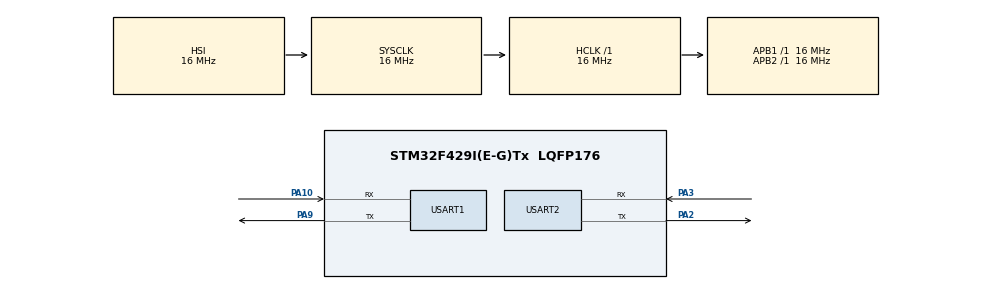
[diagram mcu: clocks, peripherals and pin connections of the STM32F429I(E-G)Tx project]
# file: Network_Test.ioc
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Mcu.Family=STM32F4
Mcu.Name=STM32F429I(E-G)Tx
Mcu.Package=LQFP176
NVIC.PriorityGroup=NVIC_PRIORITYGROUP_4
NVIC.USART2_IRQn=true\:0\:0\:false\:false\:true\:true\:true\:true
PA10.Mode=Asynchronous
PA10.Signal=USART1_RX
PA2.Mode=Asynchronous
PA2.Signal=USART2_TX
PA3.Mode=Asynchronous
PA3.Signal=USART2_RX
PA9.Mode=Asynchronous
PA9.Signal=USART1_TX
ProjectManager.HeapSize=0x200
ProjectManager.StackSize=0x400
ProjectManager.TargetToolchain=MDK-ARM V5.32
RCC.AHBFreq_Value=16000000
RCC.APB1Freq_Value=16000000
RCC.APB2Freq_Value=16000000
RCC.CortexFreq_Value=16000000
RCC.HSE_VALUE=25000000
RCC.HSI_VALUE=16000000
RCC.LSE_VALUE=32768
RCC.SYSCLKFreq_VALUE=16000000
RCC.VCOOutputFreq_Value=192000000
USART1.VirtualMode=VM_ASYNC
USART2.VirtualMode=VM_ASYNC
board=custom

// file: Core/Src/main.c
/* USER CODE BEGIN Header */
/**
  ******************************************************************************
  * @file           : main.c
  * @brief          : Main program body
  ******************************************************************************
  * @attention
  *
  * Copyright (c) 2024 STMicroelectronics.
  * All rights reserved.
  *
  * This software is licensed under terms that can be found in the LICENSE file
  * in the root directory of this software component.
  * If no LICENSE file comes with this software, it is provided AS-IS.
  *
  ******************************************************************************
  */
/* USER CODE END Header */
#include "main.h"
#include "usart.h"
#include "gpio.h"

/* USER CODE BEGIN Includes */
#include <string.h>
#include <stdio.h>
/* USER CODE END Includes */

/* USER CODE BEGIN PD */
#define TIMEOUT 15000 // 超时时间
/* USER CODE END PD */

void SystemClock_Config(void);

/* USER CODE BEGIN 0 */

// 发送AT指令并等待响应
int ESP_SendATCommand(char* cmd, char* expected_response, uint32_t timeout)
{
	char response[256];
	HAL_UART_Transmit(&huart2, (uint8_t*)cmd, strlen(cmd), timeout); // 发送AT指令
	HAL_UART_Receive(&huart2, (uint8_t*)response, sizeof(response)-1, timeout);
	// 接收响应
	if (strstr(response, expected_response) != NULL)
	{
		return 1; // 成功
	}
	else
	{
		return 0; // 失败
	}
}

int ESP_ConnectWiFi(char* ssid, char* password)
{
	char cmd[256];
	sprintf(cmd, "AT+CWJAP=\"%s\",\"%s\"\r\n", ssid, password); // 生成连接WiFi的AT指令
	return ESP_SendATCommand(cmd, "OK", TIMEOUT); // 发送命令并等待响应
}

int ESP_ConnectServer(char* ip, int port)
{
	char cmd[256];
	sprintf(cmd, "AT+CIPSTART=\"TCP\",\"%s\",%d\r\n", ip, port); // 生成TCP连接的AT指令
	return ESP_SendATCommand(cmd, "CONNECT", TIMEOUT); // 发送命令并等待响应
}

int ESP_SendData(char* data)
{
	char cmd[256];
	sprintf(cmd, "AT+CIPSEND=%d\r\n", strlen(data)); // 生成发送数据长度的AT指令
	if (!ESP_SendATCommand(cmd, ">", TIMEOUT))
	{ // 检查是否准备好发送数据
		return 0;
	}
	HAL_UART_Transmit(&huart2, (uint8_t*)data, strlen(data), TIMEOUT); // 发送实际数据
	return ESP_SendATCommand("", "SEND OK", TIMEOUT); // 检查是否发送成功
}

int ESP_ReceiveData(char* buffer, int buffer_size)
{
	char response[256] = {0};
	HAL_UART_Receive(&huart2, (uint8_t*)response, sizeof(response)-1, TIMEOUT);
	char * pid_pos =strstr(response,"+IPD");
	if(pid_pos != NULL)
	{
		char* data_start=strchr(pid_pos,':');
		if(data_start != NULL)
		{
			/*移动到实际数据开始的地方 */
			data_start++;

			strncpy(buffer,data_start,buffer_size-1);
			/*字符串结東符 */
			buffer[buffer_size-1]='\0';
			return 1;
		}
	}
	return 0;
	// 从串口接收数据
}

int ESP_CloseConnection()
{
	return ESP_SendATCommand("AT+CIPCLOSE\r\n", "CLOSED", TIMEOUT);
}

/* USER CODE END 0 */

int main(void)
{

  /* MCU Configuration--------------------------------------------------------*/

  /* Reset of all peripherals, Initializes the Flash interface and the Systick. */
  HAL_Init();

  /* Configure the system clock */
  SystemClock_Config();

  /* Initialize all configured peripherals */
  MX_GPIO_Init();
  MX_USART2_UART_Init();
  MX_USART1_UART_Init();
  /* USER CODE BEGIN 2 */

//	// 1. 设置WIFI模式
//	ESP_SendATCommand("AT+CWMODE=3\r\n", "OK", TIMEOUT);
//	// 2. 连接WiFi
//	if (ESP_ConnectWiFi("Redmi K70", "ac12234567"))
//	{
//		printf("WiFi connected\n");
//	}
//	else
//	{
//		printf("WiFi connection failed\n");
//	}
//	// 3. 连接服务器
//	if (ESP_ConnectServer("121.40.108.31", 8080))
//	{
//		printf("Connected to server\n");
//	}
//	else
//	{
//		printf("Server connection failed\n");
//	}
//	// 4. 发送数据到服务器
//	if (ESP_SendData("Hello"))
//	{
//		printf("Data sent successfully\n");
//	}
//	else
//	{
//		printf("Data send failed\n");
//	}
//
//	// 5. 接收服务器返回的数据
//	char buffer[256];
//	if (ESP_ReceiveData(buffer, sizeof(buffer)))
//	{
//		printf("Received: %s\n", buffer);
//	}
	// 6. 关闭连接
//	ESP_CloseConnection();

  /* USER CODE END 2 */

  /* Infinite loop */
  /* USER CODE BEGIN WHILE */
	ESP_SendATCommand("AT+CWMODE=1\r\n", "OK", TIMEOUT);
	// 2. 连接WiFi
	ESP_ConnectWiFi("Redmi K70", "ac12234567");

	// 3. 连接服务器
	ESP_ConnectServer("121.40.108.31", 8080);
	char recvBuffer[256] = {0};
  while (1)
  {
	// 4. 发送数据到服务器
	ESP_SendData("Hello");

	HAL_Delay(5000);

	ESP_ReceiveData(recvBuffer,sizeof(recvBuffer));
	HAL_UART_Transmit(&huart1,(uint8_t*)recvBuffer, sizeof (recvBuffer), HAL_MAX_DELAY);
    /* USER CODE END WHILE */

  }
}

void SystemClock_Config(void)
{
  RCC_OscInitTypeDef RCC_OscInitStruct = {0};
  RCC_ClkInitTypeDef RCC_ClkInitStruct = {0};

  /** Configure the main internal regulator output voltage
  */
  __HAL_RCC_PWR_CLK_ENABLE();
  __HAL_PWR_VOLTAGESCALING_CONFIG(PWR_REGULATOR_VOLTAGE_SCALE3);

  /** Initializes the RCC Oscillators according to the specified parameters
  * in the RCC_OscInitTypeDef structure.
  */
  RCC_OscInitStruct.OscillatorType = RCC_OSCILLATORTYPE_HSI;
  RCC_OscInitStruct.HSIState = RCC_HSI_ON;
  RCC_OscInitStruct.HSICalibrationValue = RCC_HSICALIBRATION_DEFAULT;
  RCC_OscInitStruct.PLL.PLLState = RCC_PLL_NONE;
  if (HAL_RCC_OscConfig(&RCC_OscInitStruct) != HAL_OK)
  {
    Error_Handler();
  }

  /** Initializes the CPU, AHB and APB buses clocks
  */
  RCC_ClkInitStruct.ClockType = RCC_CLOCKTYPE_HCLK|RCC_CLOCKTYPE_SYSCLK
                              |RCC_CLOCKTYPE_PCLK1|RCC_CLOCKTYPE_PCLK2;
  RCC_ClkInitStruct.SYSCLKSource = RCC_SYSCLKSOURCE_HSI;
  RCC_ClkInitStruct.AHBCLKDivider = RCC_SYSCLK_DIV1;
  RCC_ClkInitStruct.APB1CLKDivider = RCC_HCLK_DIV1;
  RCC_ClkInitStruct.APB2CLKDivider = RCC_HCLK_DIV1;

  if (HAL_RCC_ClockConfig(&RCC_ClkInitStruct, FLASH_LATENCY_0) != HAL_OK)
  {
    Error_Handler();
  }
}

void Error_Handler(void)
{
  __disable_irq();
  while (1)
  {
  }
}
